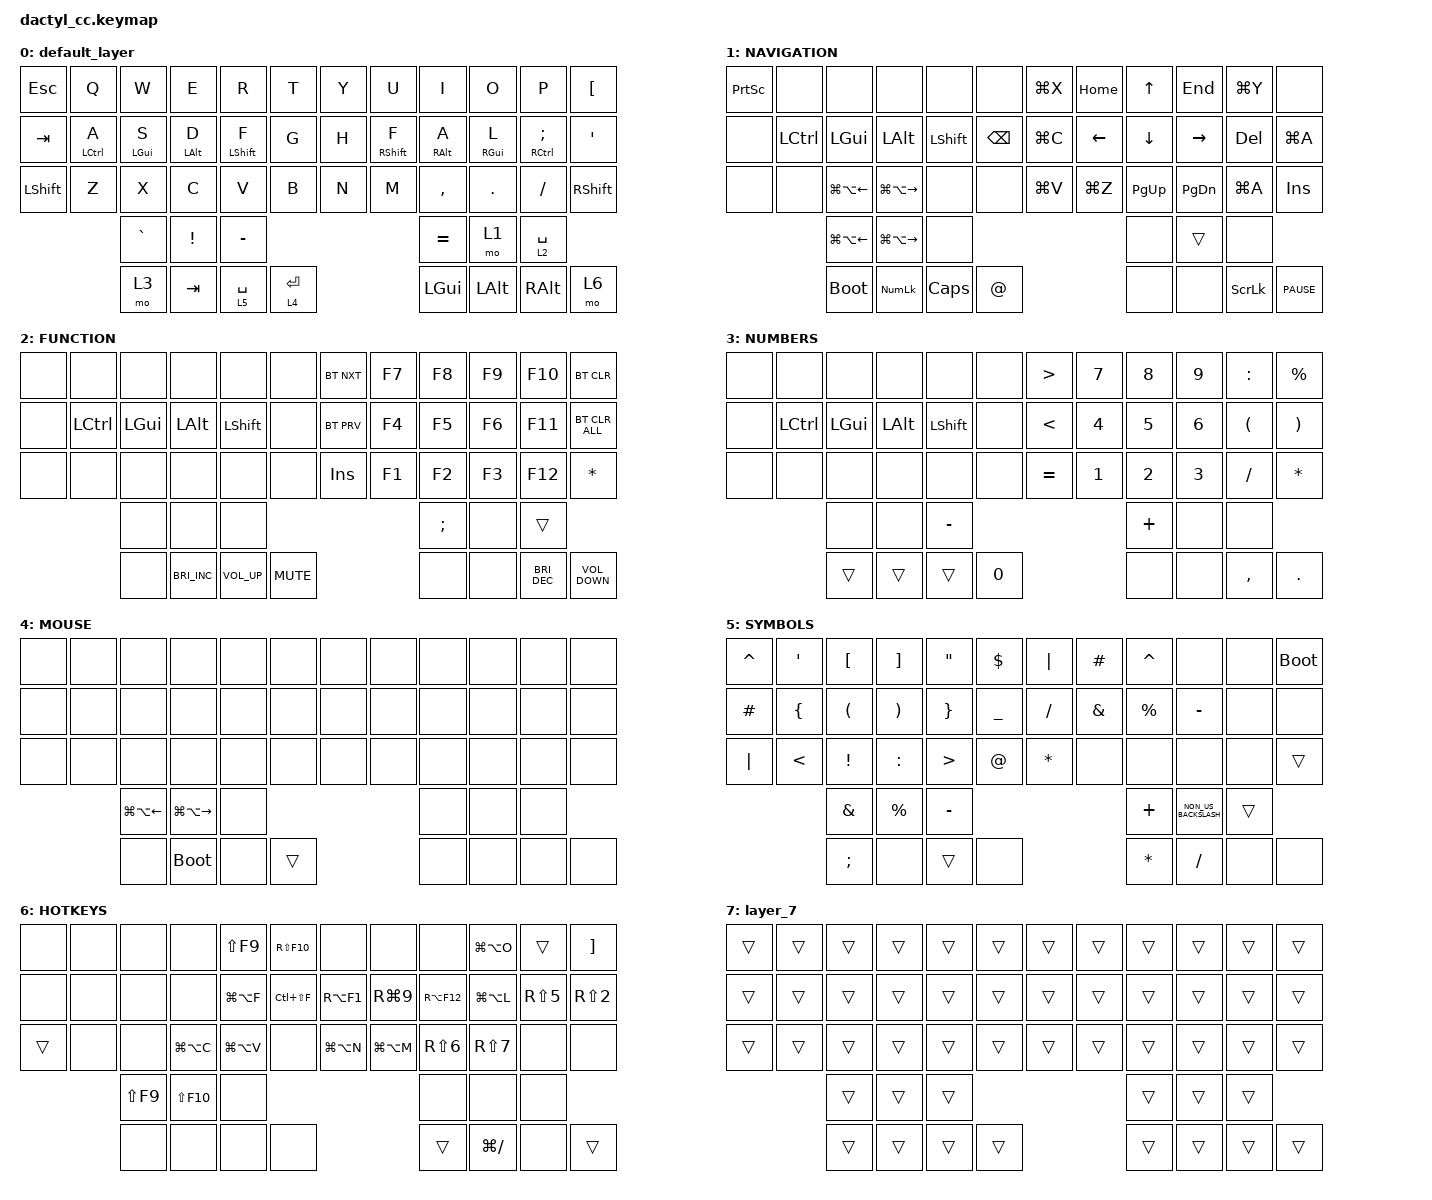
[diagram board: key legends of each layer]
#include <behaviors.dtsi>
#include <dt-bindings/zmk/bt.h>
#include <dt-bindings/zmk/keys.h>

//  ##########################################################
//  ###########        WORKING 2023/07/1       ###############
//  ##########################################################
// #############         LAYERS         #################

#define SYM_L   1
#define NAV_L   2
#define NAV2_L  3

//#define OTHER_L 4

#define DEFAULT 0
#define NAVIGATION   1
#define FUNCTION   2
#define NUMBERS  3
#define MOUSE  4
#define SYMBOLS 5
#define HOTKEYS  6

// Desktop and tab navigation shortcuts		

#define DESKTOP_LT   LC(LG(LEFT))
#define DESKTOP_RT   LC(LG(RIGHT))
#define WINDOW_LT    LA(LS(TAB))
#define WINDOW_RT    LA(TAB)
#define TAB_LT       LC(LS(TAB))
#define TAB_RT       LC(TAB)

// NOT USED  &kp LG(LC(LEFT))  &kp LG(LC(RIGHT))
// Generic bindings

#define KILL_WINDOW  LA(F4)
#define MAXIMIZE     LG(UP)
#define MINIMIZE     LG(DOWN)
#define UN_MINIMIZE  LG(LC(N))

&mt {
    flavor = "hold-preferred";
    tapping-term-ms = <500>;
};

&lt {
    flavor = "balanced";
    tapping-term-ms = <300>;
};

&sl { release-after-ms = <2000>; };

/ {
    conditional_layers { compatible = "zmk,conditional-layers"; };

    macros {
        ZMK_MACRO(inv_qm,

        wait-ms = <10>;
        tap-ms = <10>;
        bindings =
            <&macro_press &kp LALT>,
            <&macro_tap &kp KP_N1 &kp KP_N6 &kp KP_N8>,
            <&macro_release &kp LALT>;

        )
    };

    behaviors {
        //   td_mt_ls: tap_dance_mod_tap {
        //       compatible = "zmk,behavior-tap-dance";
        //       label = "TAP_DANCE_LSHIFT";
        //       #binding-cells = <0>;
        //       tapping-term-ms = <200>;
        //       bindings = <&mt LSHIFT CAPSLOCK>, <&kp LCTRL>;
        //   };
        //   td_mt_rs: tap_dance_mod_tap {
        //       compatible = "zmk,behavior-tap-dance";
        //       label = "TAP_DANCE_RSHIFT";
        //       #binding-cells = <0>;
        //       tapping-term-ms = <200>;
        //       bindings = <&mt RSHIFT CAPSLOCK>, <&kp RCTRL>;
        //   };            
    };

    keymap {
        compatible = "zmk,keymap";

        default_layer {
            bindings = <
&kp ESC     &kp Q               &kp W       &kp E            &kp R         &kp T        &kp Y  &kp U         &kp I       &kp O       &kp P                        &kp LEFT_BRACKET
&kp TAB     &mt LEFT_CONTROL A  &mt LGUI S  &mt LEFT_ALT D   &mt LSHIFT F  &kp G        &kp H  &mt RSHIFT F  &mt RALT A  &mt RGUI L  &mt RIGHT_CONTROL SEMICOLON  &kp SQT
&kp LSHIFT  &kp Z               &kp X       &kp C            &kp V         &kp B        &kp N  &kp M         &kp COMMA   &kp DOT     &kp FSLH                     &kp RSHIFT
                                &kp GRAVE   &kp EXCLAMATION  &kp MINUS                                       &kp EQUAL   &mo 1       &lt 2 SPACE
                                &mo 3       &kp TAB          &lt 5 SPACE   &lt 4 ENTER                       &kp LGUI    &kp LALT    &kp RALT                     &mo 6
            >;
        };

        NAVIGATION {
            bindings = <
&kp PRINTSCREEN  &none             &none             &none              &none       &none          &kp LG(X)  &kp HOME   &kp UP       &kp END        &kp LG(Y)       &none
&none            &kp LEFT_CONTROL  &kp LGUI          &kp LALT           &kp LSHIFT  &kp BACKSPACE  &kp LG(C)  &kp LEFT   &kp DOWN     &kp RIGHT      &kp DELETE      &kp LG(A)
&none            &none             &kp LG(LA(LEFT))  &kp LG(LA(RIGHT))  &none       &none          &kp LG(V)  &kp LG(Z)  &kp PAGE_UP  &kp PAGE_DOWN  &kp LG(A)       &kp INSERT
                                   &kp LG(LA(LEFT))  &kp LG(LA(RIGHT))  &none                                            &none        &trans         &none
                                   &bootloader       &kp KP_NUMLOCK     &kp CAPS    &kp AT_SIGN                          &none        &none          &kp SCROLLLOCK  &kp C_PAUSE
            >;
        };

        FUNCTION {
            bindings = <
&none  &none             &none     &none                 &none            &none       &bt BT_NXT  &kp F7  &kp F8    &kp F9  &kp F10               &bt BT_CLR
&none  &kp LEFT_CONTROL  &kp LGUI  &kp LALT              &kp LSHFT        &none       &bt BT_PRV  &kp F4  &kp F5    &kp F6  &kp F11               &bt BT_CLR_ALL
&none  &none             &none     &none                 &none            &none       &kp INS     &kp F1  &kp F2    &kp F3  &kp F12               &kp ASTRK
                         &none     &none                 &none                                            &kp SEMI  &none   &trans
                         &none     &kp C_BRIGHTNESS_INC  &kp C_VOLUME_UP  &kp K_MUTE                      &none     &none   &kp C_BRIGHTNESS_DEC  &kp C_VOLUME_DOWN
            >;
        };

        NUMBERS {
            bindings = <
&none  &none             &none     &none     &none      &none   &kp GREATER_THAN  &kp N7        &kp N8        &kp N9        &kp COLON             &kp PERCENT
&none  &kp LEFT_CONTROL  &kp LGUI  &kp LALT  &kp LSHFT  &none   &kp LESS_THAN     &kp NUMBER_4  &kp N5        &kp NUMBER_6  &kp LEFT_PARENTHESIS  &kp RIGHT_PARENTHESIS
&none  &none             &none     &none     &none      &none   &kp EQUAL         &kp NUMBER_1  &kp NUMBER_2  &kp NUMBER_3  &kp SLASH             &kp ASTERISK
                         &none     &none     &kp MINUS                                          &kp PLUS      &none         &none
                         &trans    &trans    &trans     &kp N0                                  &none         &none         &kp COMMA             &kp PERIOD
            >;
        };

        MOUSE {
            bindings = <
&none  &none  &none             &none              &none  &none   &none  &none  &none  &none  &none  &none
&none  &none  &none             &none              &none  &none   &none  &none  &none  &none  &none  &none
&none  &none  &none             &none              &none  &none   &none  &none  &none  &none  &none  &none
              &kp LG(LA(LEFT))  &kp LG(LA(RIGHT))  &none                        &none  &none  &none
              &none             &bootloader        &none  &trans                &none  &none  &none  &none
            >;
        };

        SYMBOLS {
            bindings = <
&kp CARET  &kp SQT         &kp LEFT_BRACKET      &kp RIGHT_BRACKET      &kp DOUBLE_QUOTES  &kp DOLLAR      &kp PIPE      &kp HASH       &kp CARET     &none                 &none   &bootloader
&kp HASH   &kp LEFT_BRACE  &kp LEFT_PARENTHESIS  &kp RIGHT_PARENTHESIS  &kp RIGHT_BRACE    &kp UNDERSCORE  &kp SLASH     &kp AMPERSAND  &kp PERCENT   &kp MINUS             &none   &none
&kp PIPE   &kp LESS_THAN   &kp EXCLAMATION       &kp COLON              &kp GREATER_THAN   &kp AT_SIGN     &kp ASTERISK  &none          &none         &none                 &none   &trans
                           &kp AMPERSAND         &kp PERCENT            &kp MINUS                                                       &kp PLUS      &kp NON_US_BACKSLASH  &trans
                           &kp SEMICOLON         &none                  &trans             &none                                        &kp ASTERISK  &kp SLASH             &none   &none
            >;
        };

        HOTKEYS {
            bindings = <
&none   &none  &none       &none          &kp LS(F9)     &kp RS(F10)    &none          &none          &none             &kp LG(LA(O))  &trans      &kp RIGHT_BRACKET
&none   &none  &none       &none          &kp LG(LA(F))  &kp LC(LS(F))  &kp RA(F1)     &kp RG(N9)     &kp RA(F12)       &kp LG(LA(L))  &kp RS(N5)  &kp RS(NUMBER_2)
&trans  &none  &none       &kp LG(LA(C))  &kp LG(LA(V))  &none          &kp LG(LA(N))  &kp LG(LA(M))  &kp RS(NUMBER_6)  &kp RS(N7)     &none       &none
               &kp LS(F9)  &kp LS(F10)    &none                                                       &none             &none          &none
               &none       &none          &none          &none                                        &trans            &kp LG(SLASH)  &none       &trans
            >;
        };

        layer_7 {
            bindings = <
&trans  &trans  &trans  &trans  &trans  &trans  &trans  &trans  &trans  &trans  &trans  &trans
&trans  &trans  &trans  &trans  &trans  &trans  &trans  &trans  &trans  &trans  &trans  &trans
&trans  &trans  &trans  &trans  &trans  &trans  &trans  &trans  &trans  &trans  &trans  &trans
                &trans  &trans  &trans                          &trans  &trans  &trans
                &trans  &trans  &trans  &trans                  &trans  &trans  &trans  &trans
            >;
        };
    };
};
